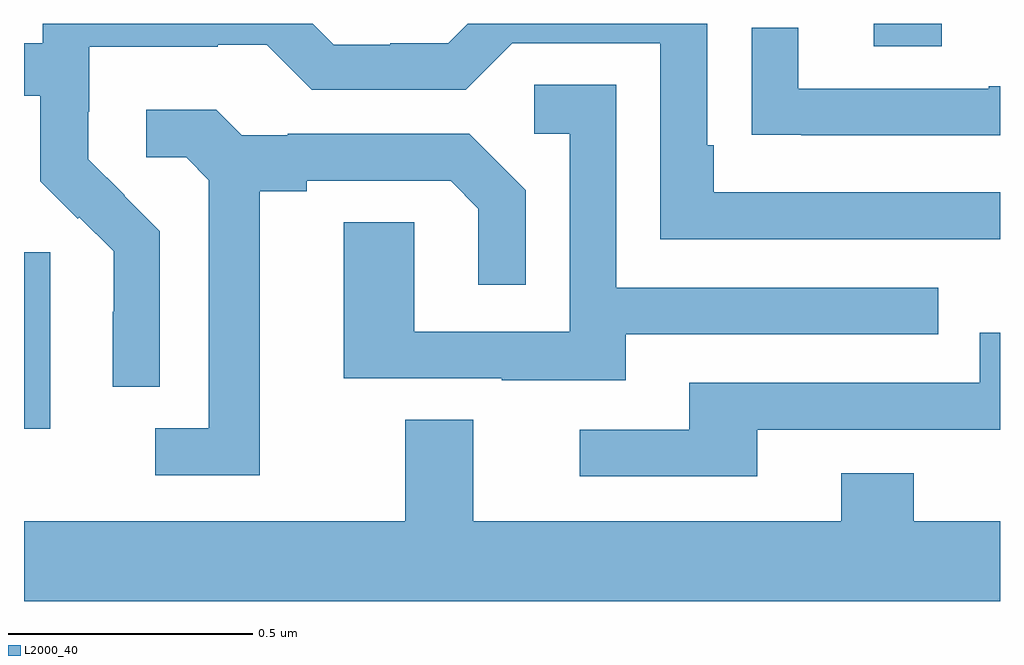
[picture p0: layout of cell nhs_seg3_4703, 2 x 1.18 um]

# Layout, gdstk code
import gdstk
lib = gdstk.Library(unit=1e-6, precision=1e-09)
def R(c, l, rs):  # rectangles x0, y0, x1, y1
    for r in rs: c.add(gdstk.rectangle(r[:2], r[2:], *l))
def P(c, l, *ps):  # polygons
    for p in ps: c.add(gdstk.Polygon(p, *l))
L2000_40 = (2000, 40)

nhs_seg3_4703 = lib.new_cell('nhs_seg3_4703')
R(nhs_seg3_4703, L2000_40, [(169,734.57,169.054,734.931), (170.741,735.354,170.881,735.4)])
P(nhs_seg3_4703, L2000_40, [(169.278,734.974),(169.205,735.047),(169.206,735.048),(169.132,735.122),(169.132,735.219),(169.134,735.219),(169.134,735.353),(169.397,735.353),(169.397,735.357),(169.497,735.357),(169.59,735.264),(169.905,735.264),(170.001,735.36),(170.304,735.36),(170.304,734.958),(171,734.958),(171,735.054),(170.413,735.054),(170.413,735.151),(170.4,735.151),(170.4,735.4),(169.909,735.4),(169.869,735.36),(169.751,735.36),(169.751,735.357),(169.635,735.357),(169.592,735.4),(169.038,735.4),(169.038,735.36),(169,735.36),(169,735.252),(169.033,735.252),(169.033,735.077),(169.11,735),(169.113,735.003),(169.184,734.933),(169.184,734.81),(169.182,734.81),(169.182,734.656),(169.278,734.656)],
  [(171,735.272),(170.977,735.272),(170.977,735.267),(170.587,735.267),(170.587,735.391),(170.491,735.391),(170.491,735.172),(170.593,735.172),(170.593,735.171),(171,735.171)],
  [(170.233,734.763),(170.873,734.763),(170.873,734.859),(170.214,734.859),(170.214,735.275),(170.046,735.275),(170.046,735.174),(170.118,735.174),(170.118,734.769),(169.8,734.769),(169.8,734.993),(169.655,734.993),(169.655,734.673),(169.979,734.673),(169.979,734.669),(170.233,734.669)],
  [(169.483,735.056),(169.579,735.056),(169.579,735.078),(169.874,735.078),(169.931,735.021),(169.931,734.865),(170.028,734.865),(170.028,735.058),(169.912,735.174),(169.54,735.174),(169.54,735.171),(169.446,735.171),(169.394,735.223),(169.251,735.223),(169.251,735.126),(169.332,735.126),(169.379,735.079),(169.379,734.571),(169.269,734.571),(169.269,734.475),(169.483,734.475)],
  [(170.503,734.568),(171,734.568),(171,734.767),(170.958,734.767),(170.958,734.664),(170.363,734.664),(170.363,734.568),(170.139,734.568),(170.139,734.472),(170.503,734.472)],
  [(171,734.38),(170.823,734.38),(170.823,734.479),(170.675,734.479),(170.675,734.38),(169.921,734.38),(169.921,734.588),(169.781,734.588),(169.781,734.38),(169,734.38),(169,734.216),(171,734.216)])

lib.write_gds('nhs_seg3_4703.gds')
